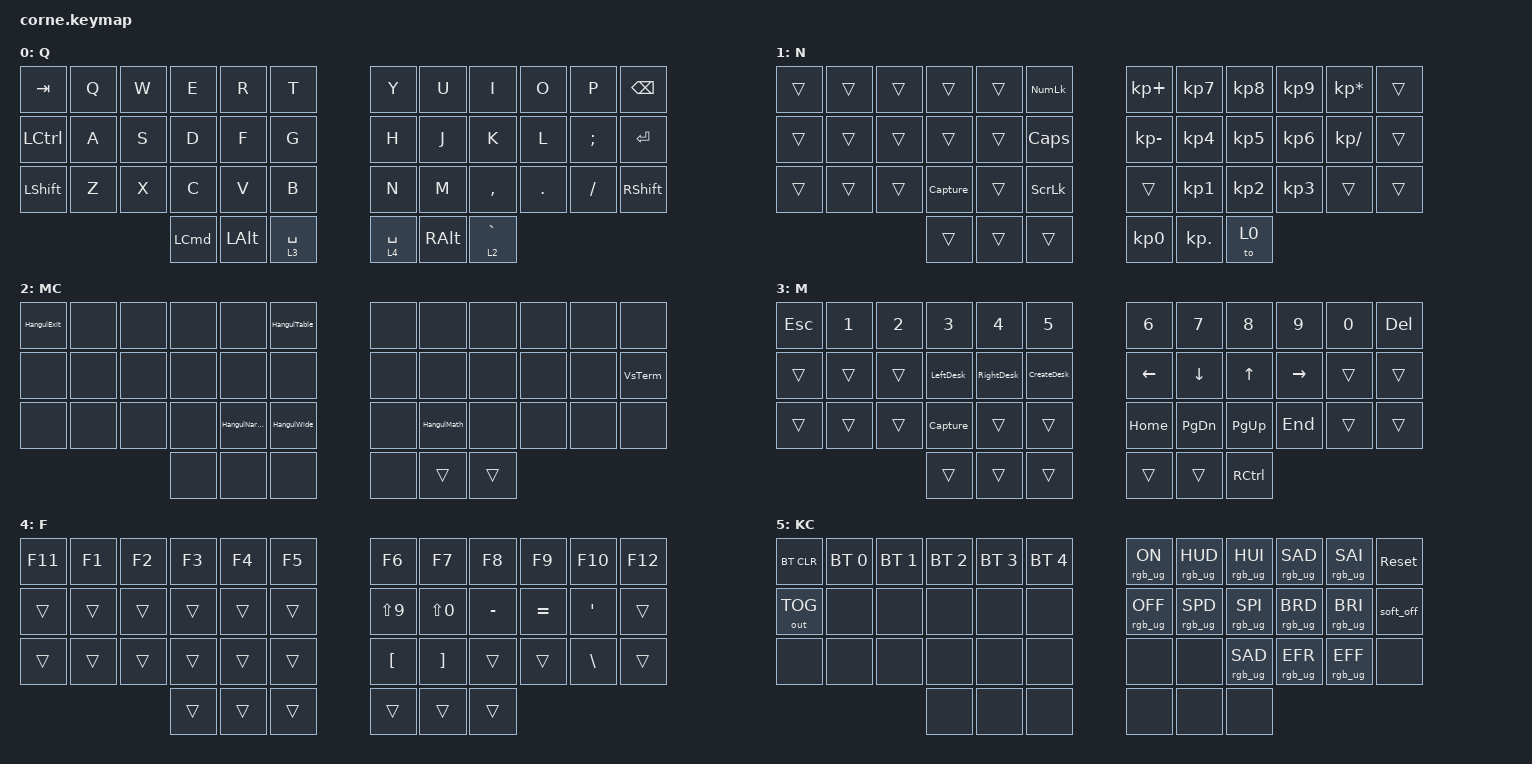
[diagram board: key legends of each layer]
#include <behaviors/mouse_keys.dtsi>
#include <behaviors.dtsi>
#include <dt-bindings/zmk/bt.h>
#include <dt-bindings/zmk/keys.h>
#include <dt-bindings/zmk/outputs.h>
#include <dt-bindings/zmk/rgb.h>

&led_strip {
    // chain-length = <0>;

    chain-length = <27>;

    // 21 backlight + 6 glowlight
};

// Behavior configuration

&mt {
    tapping-term-ms = <150>;
    quick_tap_ms = <0>;
    flavor = "tap-preferred";
};

&lt {
    tapping-term-ms = <180>;
    flavor = "tap-preferred";
    retro-tap;
    hold-trigger-key-positions = <>;
    hold-while-undecided;
};

&sk {
    release-after-ms = <500>;
    quick-release;
};

// Keymap configuration (Colemak-DHm)

/ {
    combos {
        compatible = "zmk,combos";

        KoreanB {
            bindings = <&kp B>;
            key-positions = <30 31>;
            layers = <0>;
        };

        KeyboardConfig {
            bindings = <&mo 5>;
            key-positions = <39 40 41>;
        };

        NumBer {
            bindings = <&to 1>;
            key-positions = <41 39>;
        };
    };

    behaviors {
        LCS: LCS {
            compatible = "zmk,behavior-tap-dance";
            label = "LCS";
            #binding-cells = <0>;
            bindings = <&lt 3 SPACE>, <&lt 1 SPACE>;

            tapping-term-ms = <200>;
        };

        RCS: RCS {
            compatible = "zmk,behavior-tap-dance";
            label = "RCS";
            #binding-cells = <0>;
            bindings = <&lt 4 SPACE>, <&kp SPACE>;

            tapping-term-ms = <200>;
        };

        LayerMove: LayerMove {
            compatible = "zmk,behavior-tap-dance";
            label = "LAYERMOVE";
            #binding-cells = <0>;
            bindings = <&to 0>, <&to 1>, <&sl 2>;
        };

        ShiftEnter: ShiftEnter {
            compatible = "zmk,behavior-hold-tap";
            label = "SHIFTENTER";
            bindings = <&kp>, <&kp>;

            #binding-cells = <2>;
            tapping-term-ms = <100>;
        };

        MyLayer: MyLayer {
            compatible = "zmk,behavior-hold-tap";
            label = "MYLAYER";
            bindings = <&mo>, <&kp>;

            #binding-cells = <2>;
            tapping-term-ms = <200>;
        };
    };

    macros {
        VsTerm: VsTerm {
            compatible = "zmk,behavior-macro";
            #binding-cells = <0>;
            bindings =
                <&macro_press>,
                <&kp LEFT_SHIFT &kp LCTRL &kp GRAVE>,
                <&macro_release>,
                <&kp LEFT_SHIFT &kp LCTRL &kp GRAVE>;

            label = "VSTERM";
        };

        HangulMath: HangulMath {
            compatible = "zmk,behavior-macro";
            #binding-cells = <0>;
            bindings =
                <&macro_press>,
                <&kp LCTRL>,
                <&macro_tap>,
                <&kp N &kp M>,
                <&macro_release>,
                <&kp LCTRL>;

            label = "HANGULMATH";
        };

        HangulExit: HangulExit {
            compatible = "zmk,behavior-macro";
            #binding-cells = <0>;
            bindings =
                <&macro_press>,
                <&kp LSHIFT &kp ESC>,
                <&macro_release>,
                <&kp LSHIFT &kp ESC>;

            label = "HANGULEXIT";
        };

        Capture: Capture {
            compatible = "zmk,behavior-macro";
            #binding-cells = <0>;
            bindings =
                <&macro_press>,
                <&kp LEFT_SHIFT &kp LEFT_WIN>,
                <&macro_tap>,
                <&kp S>,
                <&macro_release>,
                <&kp LEFT_SHIFT &kp LEFT_WIN>;

            label = "CAPTURE";
        };

        LeftDesk: LeftDesk {
            compatible = "zmk,behavior-macro";
            #binding-cells = <0>;
            bindings =
                <&macro_press>,
                <&kp LCTRL &kp LEFT_WIN>,
                <&macro_tap>,
                <&kp LEFT>,
                <&macro_release>,
                <&kp LCTRL &kp LEFT_WIN>;

            label = "LEFTDESK";
        };

        RightDesk: RightDesk {
            compatible = "zmk,behavior-macro";
            #binding-cells = <0>;
            bindings =
                <&macro_press>,
                <&kp LCTRL &kp LEFT_WIN>,
                <&macro_tap>,
                <&kp RIGHT>,
                <&macro_release>,
                <&kp LCTRL &kp LEFT_WIN>;

            label = "RIGHTDESK";
        };

        CreateDesk: CreateDesk {
            compatible = "zmk,behavior-macro";
            #binding-cells = <0>;
            bindings =
                <&macro_press>,
                <&kp LCTRL &kp LEFT_WIN>,
                <&macro_tap>,
                <&kp D>,
                <&macro_release>,
                <&kp LCTRL &kp LEFT_WIN>;

            label = "CREATEDESK";
        };

        HangulTable: HangulTable {
            compatible = "zmk,behavior-macro";
            #binding-cells = <0>;
            bindings =
                <&macro_press>,
                <&kp LCTRL>,
                <&macro_tap>,
                <&kp N &kp T>,
                <&macro_release>,
                <&kp LCTRL>;

            label = "HANGULTABLE";
        };

        HangulNarrow: HangulNarrow {
            compatible = "zmk,behavior-macro";
            #binding-cells = <0>;
            bindings =
                <&macro_press>,
                <&kp LALT &kp LSHFT>,
                <&macro_tap>,
                <&kp N>,
                <&macro_release>,
                <&kp LALT &kp LSHIFT>;

            label = "HANGULNARROW";
        };

        HangulWide: HangulWide {
            compatible = "zmk,behavior-macro";
            #binding-cells = <0>;
            bindings =
                <&macro_press>,
                <&kp LALT &kp LSHFT>,
                <&macro_tap>,
                <&kp W>,
                <&macro_release>,
                <&kp LALT &kp LSHIFT>;

            label = "HANGULWIDE";
        };
    };

    keymap {
        compatible = "zmk,keymap";

        Qwerty {
            // -----------------------------------------------------------------------------------------------------------------------------
            // |        |   Q    |   W    |     F     |     P     |     B     | # |     J     |    L     |    U    |    Y   |   '    |     |
            // | LAYERS | A/LGUI | R/LALT |  S/LCTRL  |  T/LSHFT  |     G     | # |     M     | N/LSHFT  | E/LCTRL | I/LALT | O/LGUI |     |
            // |        |   Z    | X/RALT |     C     |     D     |     V     | # |     K     |    H     |    ,    | ./RALT |   /    |     |
            //                            | ESC/MEDIA | SPACE/NAV | TAB/MOUSE | # | ENTER/SYM | BSPC/NUM | DEL/FN  |

            bindings = <
&kp TAB         &kp Q  &kp W  &kp E             &kp R         &kp T          &kp Y        &kp U     &kp I             &kp O    &kp P          &kp BACKSPACE
&kp LCTRL       &kp A  &kp S  &kp D             &kp F         &kp G          &kp H        &kp J     &kp K             &kp L    &kp SEMICOLON  &kp ENTER
&kp LEFT_SHIFT  &kp Z  &kp X  &kp C             &kp V         &kp B          &kp N        &kp M     &kp COMMA         &kp DOT  &kp SLASH      &kp RIGHT_SHIFT
                              &kp LEFT_COMMAND  &kp LEFT_ALT  &lt 3 SPACE    &lt 4 SPACE  &kp RALT  &MyLayer 2 GRAVE
            >;

            label = "Q";
        };

        Num {
            bindings = <
&trans  &trans  &trans  &trans    &trans  &kp KP_NUMLOCK    &kp KP_PLUS      &kp KP_NUMBER_7  &kp KP_NUMBER_8  &kp KP_NUMBER_9  &kp KP_MULTIPLY  &trans
&trans  &trans  &trans  &trans    &trans  &kp CAPSLOCK      &kp KP_MINUS     &kp KP_NUMBER_4  &kp KP_NUMBER_5  &kp KP_NUMBER_6  &kp KP_DIVIDE    &trans
&trans  &trans  &trans  &Capture  &trans  &kp SCROLLLOCK    &trans           &kp KP_NUMBER_1  &kp KP_NUMBER_2  &kp KP_NUMBER_3  &trans           &trans
                        &trans    &trans  &trans            &kp KP_NUMBER_0  &kp KP_DOT       &to 0
            >;

            label = "N";
        };

        Macro {
            bindings = <
&HangulExit  &none  &none  &none  &none          &HangulTable    &none  &none        &none   &none  &none  &none
&none        &none  &none  &none  &none          &none           &none  &none        &none   &none  &none  &VsTerm
&none        &none  &none  &none  &HangulNarrow  &HangulWide     &none  &HangulMath  &none   &none  &none  &none
                           &none  &none          &none           &none  &trans       &trans
            >;

            label = "MC";
        };

        Move {
            // ------------------------------------------------------------------------------------
            // |     |      |      |       |       |      | # |     |     |     |     |     |     |
            // |     | LGUI | LALT | LCTRL | LSHFT |      | # |     |     |     |     |     |     |
            // |     |      | RALT |       |       |      | # |     |     |     |     |     |     |
            //                     |       |       | HELD | # |     |     |     |

            bindings = <
&kp ESC  &kp N1  &kp N2  &kp N3     &kp N4      &kp N5         &kp N6    &kp N7         &kp N8       &kp N9     &kp N0  &kp DEL
&trans   &trans  &trans  &LeftDesk  &RightDesk  &CreateDesk    &kp LEFT  &kp DOWN       &kp UP       &kp RIGHT  &trans  &trans
&trans   &trans  &trans  &Capture   &trans      &trans         &kp HOME  &kp PAGE_DOWN  &kp PAGE_UP  &kp END    &trans  &trans
                         &trans     &trans      &trans         &trans    &trans         &kp RCTRL
            >;

            label = "M";
        };

        Function {
            bindings = <
&kp F11  &kp F1  &kp F2  &kp F3  &kp F4  &kp F5    &kp F6            &kp F7             &kp F8     &kp F9     &kp F10        &kp F12
&trans   &trans  &trans  &trans  &trans  &trans    &kp LS(NUMBER_9)  &kp LS(NUMBER_0)   &kp MINUS  &kp EQUAL  &kp SQT        &trans
&trans   &trans  &trans  &trans  &trans  &trans    &kp LEFT_BRACKET  &kp RIGHT_BRACKET  &trans     &trans     &kp BACKSLASH  &trans
                         &trans  &trans  &trans    &trans            &trans             &trans
            >;

            label = "F";
        };

        KeyboardConfig {
            bindings = <
&bt BT_CLR    &bt BT_SEL 0  &bt BT_SEL 1  &bt BT_SEL 2  &bt BT_SEL 3  &bt BT_SEL 4    &rgb_ug RGB_ON   &rgb_ug RGB_HUD  &rgb_ug RGB_HUI  &rgb_ug RGB_SAD  &rgb_ug RGB_SAI  &sys_reset
&out OUT_TOG  &none         &none         &none         &none         &none           &rgb_ug RGB_OFF  &rgb_ug RGB_SPD  &rgb_ug RGB_SPI  &rgb_ug RGB_BRD  &rgb_ug RGB_BRI  &soft_off
&none         &none         &none         &none         &none         &none           &none            &none            &rgb_ug RGB_SAD  &rgb_ug RGB_EFR  &rgb_ug RGB_EFF  &none
                                          &none         &none         &none           &none            &none            &none
            >;

            label = "KC";
        };
    };
};
